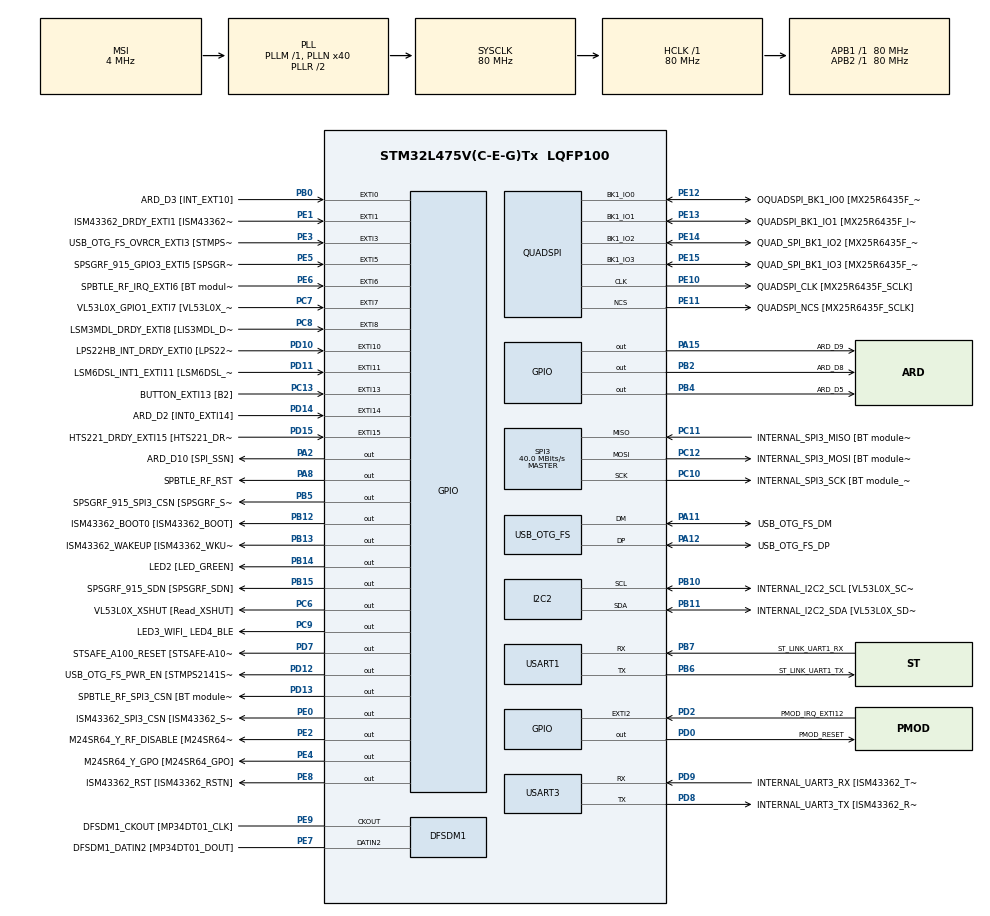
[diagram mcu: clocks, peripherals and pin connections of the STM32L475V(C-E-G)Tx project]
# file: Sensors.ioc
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Mcu.Family=STM32L4
Mcu.Name=STM32L475V(C-E-G)Tx
Mcu.Package=LQFP100
NVIC.EXTI15_10_IRQn=true\:0\:0\:false\:false\:true\:true\:true
NVIC.EXTI9_5_IRQn=true\:0\:0\:false\:false\:true\:true\:true
NVIC.PriorityGroup=NVIC_PRIORITYGROUP_4
NVIC.TIM1_CC_IRQn=true\:0\:0\:false\:false\:true\:true\:true
PA0.GPIO_Label=ARD_D1 [UART4_TX]
PA0.Signal=UART4_TX
PA1.GPIO_Label=ARD_D0 [UART4_RX]
PA1.Signal=UART4_RX
PA10.GPIO_Label=USB_OTG_FS_ID
PA10.Signal=USB_OTG_FS_ID
PA11.GPIO_Label=USB_OTG_FS_DM
PA11.Mode=Device_Only
PA11.Signal=USB_OTG_FS_DM
PA12.GPIO_Label=USB_OTG_FS_DP
PA12.Mode=Device_Only
PA12.Signal=USB_OTG_FS_DP
PA13\ (JTMS-SWDIO).GPIO_Label=SYS_JTMS_SWDIO
PA13\ (JTMS-SWDIO).Mode=Serial_Wire
PA13\ (JTMS-SWDIO).Signal=SYS_JTMS-SWDIO
PA14\ (JTCK-SWCLK).GPIO_Label=SYS_JTCK_SWCLK
PA14\ (JTCK-SWCLK).Mode=Serial_Wire
PA14\ (JTCK-SWCLK).Signal=SYS_JTCK-SWCLK
PA15\ (JTDI).GPIO_Label=ARD_D9
PA15\ (JTDI).Signal=GPIO_Output
PA2.GPIO_Label=ARD_D10 [SPI_SSN]
PA2.Signal=GPIO_Output
PA3.GPIO_Label=ARD_D4
PA3.Signal=S_TIM2_CH4
PA4.GPIO_Label=ARD_D7
PA4.Signal=ADCx_IN9
PA5.GPIO_Label=ARD_D13 [SPI1_SCK]
PA5.Signal=SPI1_SCK
PA6.GPIO_Label=ARD_D12 [SPI1_MISO]
PA6.Signal=SPI1_MISO
PA7.GPIO_Label=ARD_D11 [SPI1_MOSI]
PA7.Signal=SPI1_MOSI
PA8.GPIO_Label=SPBTLE_RF_RST
PA8.Signal=GPIO_Output
PA9.GPIO_Label=USB_OTG_FS_VBUS [STMPS2141STR_OUT]
PA9.Signal=USB_OTG_FS_VBUS
PB0.GPIO_Label=ARD_D3 [INT_EXT10]
PB0.Signal=GPXTI0
PB1.GPIO_Label=ARD_D6 [ADC1_IN6]
PB1.Signal=ADCx_IN16
PB10.GPIO_Label=INTERNAL_I2C2_SCL [VL53L0X_SCL]
PB10.Mode=I2C
PB10.Signal=I2C2_SCL
PB11.GPIO_Label=INTERNAL_I2C2_SDA [VL53L0X_SDA]
PB11.Mode=I2C
PB11.Signal=I2C2_SDA
PB12.GPIO_Label=ISM43362_BOOT0 [ISM43362_BOOT]
PB12.Signal=GPIO_Output
PB13.GPIO_Label=ISM43362_WAKEUP [ISM43362_WKUP]
PB13.Signal=GPIO_Output
PB14.GPIO_Label=LED2 [LED_GREEN]
PB14.Signal=GPIO_Output
PB15.GPIO_Label=SPSGRF_915_SDN [SPSGRF_SDN]
PB15.Signal=GPIO_Output
PB2.GPIO_Label=ARD_D8
PB2.Signal=GPIO_Output
PB3\ (JTDO-TRACESWO).GPIO_Label=SYS_JTD0_SWO
PB3\ (JTDO-TRACESWO).Signal=SYS_JTDO-SWO
PB4\ (NJTRST).GPIO_Label=ARD_D5
PB4\ (NJTRST).Signal=GPIO_Output
PB5.GPIO_Label=SPSGRF_915_SPI3_CSN [SPSGRF_SPI_CS]
PB5.PinState=GPIO_PIN_SET
PB5.Signal=GPIO_Output
PB6.GPIO_Label=ST_LINK_UART1_TX
PB6.Mode=Asynchronous
PB6.Signal=USART1_TX
PB7.GPIO_Label=ST_LINK_UART1_RX
PB7.Mode=Asynchronous
PB7.Signal=USART1_RX
PB8.GPIO_Label=ARD_D15 [I2C1_SCL]
PB8.Signal=I2C1_SCL
PB9.GPIO_Label=ARD_D14 [I2C1_SDA]
PB9.Signal=I2C1_SDA
PC0.GPIO_Label=ARD_A5 [ADC]
PC0.Signal=ADCx_IN1
PC1.GPIO_Label=ARD_A4 [ADC]
PC1.Signal=ADCx_IN2
PC10.GPIO_Label=INTERNAL_SPI3_SCK [BT module_SPI_SCLK]
PC10.Mode=Full_Duplex_Master
PC10.Signal=SPI3_SCK
PC11.GPIO_Label=INTERNAL_SPI3_MISO [BT module_SPI_MISO]
PC11.Mode=Full_Duplex_Master
PC11.Signal=SPI3_MISO
PC12.GPIO_Label=INTERNAL_SPI3_MOSI [BT module_SPI_MOSI]
PC12.Mode=Full_Duplex_Master
PC12.Signal=SPI3_MOSI
PC13.GPIO_Label=BUTTON_EXTI13 [B2]
PC13.GPIO_ModeDefaultEXTI=GPIO_MODE_IT_FALLING
PC13.Signal=GPXTI13
PC14-OSC32_IN\ (PC14).Mode=LSE-External-Oscillator
PC14-OSC32_IN\ (PC14).Signal=RCC_OSC32_IN
PC15-OSC32_OUT\ (PC15).Mode=LSE-External-Oscillator
PC15-OSC32_OUT\ (PC15).Signal=RCC_OSC32_OUT
PC2.GPIO_Label=ARD_A3 [ADC]
PC2.Signal=ADCx_IN3
PC3.GPIO_Label=ARD_A2 [ADC]
PC3.Signal=ADCx_IN4
PC4.GPIO_Label=ARD_A1 [ADC]
PC4.Signal=ADCx_IN13
PC5.GPIO_Label=ARD_A0 [ADC]
PC5.Signal=ADCx_IN14
PC6.GPIO_Label=VL53L0X_XSHUT [Read_XSHUT]
PC6.Signal=GPIO_Output
PC7.GPIO_Label=VL53L0X_GPIO1_EXTI7 [VL53L0X_GPIO1]
PC7.Signal=GPXTI7
PC8.GPIO_Label=LSM3MDL_DRDY_EXTI8 [LIS3MDL_DRDY]
PC8.Signal=GPXTI8
PC9.GPIO_Label=LED3_WIFI_ LED4_BLE
PC9.Signal=GPIO_Output
PD0.GPIO_Label=PMOD_RESET
PD0.Signal=GPIO_Output
PD1.GPIO_Label=PMOD_SPI2_SCK
PD1.Signal=SPI2_SCK
PD10.GPIO_Label=LPS22HB_INT_DRDY_EXTI0 [LPS22HB_INT_DRDY] 
PD10.Signal=GPXTI10
PD11.GPIO_Label=LSM6DSL_INT1_EXTI11 [LSM6DSL_INT1]
PD11.Signal=GPXTI11
PD12.GPIO_Label=USB_OTG_FS_PWR_EN [STMPS2141STR_EN]
PD12.Signal=GPIO_Output
PD13.GPIO_Label=SPBTLE_RF_SPI3_CSN [BT module_SPI_CS]
PD13.PinState=GPIO_PIN_SET
PD13.Signal=GPIO_Output
PD14.GPIO_Label=ARD_D2 [INT0_EXTI14]
PD14.Signal=GPXTI14
PD15.GPIO_Label=HTS221_DRDY_EXTI15 [HTS221_DRDY]
PD15.Signal=GPXTI15
PD2.GPIO_Label=PMOD_IRQ_EXTI12
PD2.Signal=GPXTI2
PD3.GPIO_Label=PMOD_UART2_CTS
PD3.Signal=USART2_CTS
PD4.GPIO_Label=PMOD_UART2_RTS
PD4.Signal=USART2_RTS
PD5.GPIO_Label=PMOD_UART2_TX
PD5.Signal=USART2_TX
PD6.GPIO_Label=PMOD_UART2_RX
PD6.Signal=USART2_RX
PD7.GPIO_Label=STSAFE_A100_RESET [STSAFE-A100_RESET]
PD7.Signal=GPIO_Output
PD8.GPIO_Label=INTERNAL_UART3_TX [ISM43362_RX]
PD8.Mode=Asynchronous
PD8.Signal=USART3_TX
PD9.GPIO_Label=INTERNAL_UART3_RX [ISM43362_TX]
PD9.Mode=Asynchronous
PD9.Signal=USART3_RX
PE0.GPIO_Label=ISM43362_SPI3_CSN [ISM43362_SSN]
PE0.PinState=GPIO_PIN_SET
PE0.Signal=GPIO_Output
PE1.GPIO_Label=ISM43362_DRDY_EXTI1 [ISM43362_DATARDY]
PE1.Signal=GPXTI1
PE10.GPIO_Label=QUADSPI_CLK [MX25R6435F_SCLK]
PE10.Mode=Single Bank
PE10.Signal=QUADSPI_CLK
PE11.GPIO_Label=QUADSPI_NCS [MX25R6435F_SCLK]
PE11.Mode=Single Bank
PE11.Signal=QUADSPI_NCS
PE12.GPIO_Label=OQUADSPI_BK1_IO0 [MX25R6435F_IO0]
PE12.Mode=Single Bank
PE12.Signal=QUADSPI_BK1_IO0
PE13.GPIO_Label=QUADSPI_BK1_IO1 [MX25R6435F_IO1]
PE13.Mode=Single Bank
PE13.Signal=QUADSPI_BK1_IO1
PE14.GPIO_Label=QUAD_SPI_BK1_IO2 [MX25R6435F_IO2]
PE14.Mode=Single Bank
PE14.Signal=QUADSPI_BK1_IO2
PE15.GPIO_Label=QUAD_SPI_BK1_IO3 [MX25R6435F_IO3]
PE15.Mode=Single Bank
PE15.Signal=QUADSPI_BK1_IO3
PE2.GPIO_Label=M24SR64_Y_RF_DISABLE [M24SR64_RFDIS]
PE2.Signal=GPIO_Output
PE3.GPIO_Label=USB_OTG_FS_OVRCR_EXTI3 [STMPS2141STR_FAULT]
PE3.Signal=GPXTI3
PE4.GPIO_Label=M24SR64_Y_GPO [M24SR64_GPO]
PE4.Signal=GPIO_Output
PE5.GPIO_Label=SPSGRF_915_GPIO3_EXTI5 [SPSGRF_GPIO_3]
PE5.Signal=GPXTI5
PE6.GPIO_Label=SPBTLE_RF_IRQ_EXTI6 [BT module_SPI_IRQ]
PE6.Signal=GPXTI6
PE7.GPIO_Label=DFSDM1_DATIN2 [MP34DT01_DOUT]
PE7.Signal=S_DATAIN2DFSDM1
PE8.GPIO_Label=ISM43362_RST [ISM43362_RSTN]
PE8.Signal=GPIO_Output
PE9.GPIO_Label=DFSDM1_CKOUT [MP34DT01_CLK]
PE9.Signal=S_CKOUTDFSDM1
ProjectManager.HeapSize=0x200
ProjectManager.StackSize=0x400
ProjectManager.TargetToolchain=EWARM V8
RCC.ADCFreq_Value=48000000
RCC.AHBFreq_Value=80000000
RCC.APB1Freq_Value=80000000
RCC.APB1TimFreq_Value=80000000
RCC.APB2Freq_Value=80000000
RCC.APB2TimFreq_Value=80000000
RCC.CortexFreq_Value=80000000
RCC.HCLKFreq_Value=80000000
RCC.HSE_VALUE=8000000
RCC.HSI_VALUE=16000000
RCC.MSI_VALUE=4000000
RCC.PLLN=40
RCC.PLLSAI1N=24
RCC.SYSCLKFreq_VALUE=80000000
RCC.SYSCLKSource=RCC_SYSCLKSOURCE_PLLCLK
RCC.USBFreq_Value=48000000
RCC.VCOOutputFreq_Value=160000000
SH.ADCx_IN1.0=ADC1_IN1
SH.ADCx_IN13.0=ADC1_IN13
SH.ADCx_IN14.0=ADC1_IN14
SH.ADCx_IN16.0=ADC1_IN16
SH.ADCx_IN2.0=ADC1_IN2
SH.ADCx_IN3.0=ADC1_IN3
SH.ADCx_IN4.0=ADC1_IN4
SH.ADCx_IN9.0=ADC1_IN9
SH.S_CKOUTDFSDM1.0=DFSDM1_CKOUT,CKOUT
SH.S_CKOUTDFSDM1.1=DFSDM1_CKOUT,PDM_SPI_Input_from_ch12_and_Internal_Clock
SH.S_DATAIN2DFSDM1.0=DFSDM1_DATIN2,PDM_SPI_Input_from_ch12_and_Internal_Clock
SH.S_TIM2_CH4.0=TIM2_CH4
SPI3.CalculateBaudRate=40.0 MBits/s
SPI3.Direction=SPI_DIRECTION_2LINES
SPI3.Mode=SPI_MODE_MASTER
SPI3.VirtualType=VM_MASTER
TIM1.AutoReloadPreload=TIM_AUTORELOAD_PRELOAD_DISABLE
TIM1.Channel-Input_Capture1_from_TI1_REMAP_TIM1=TIM_CHANNEL_1
USART1.VirtualMode-Asynchronous=VM_ASYNC
USART3.VirtualMode-Asynchronous=VM_ASYNC
USB_OTG_FS.VirtualMode=Device_Only
VP_TIM1_VS_ClockSourceINT.Mode=Internal
VP_TIM1_VS_ClockSourceITR.Mode=TriggerSource_ITR0
VP_TIM1_VS_NoInput1.Mode=Input_Capture1_from_TI1_REMAP_TIM1
board=B-L475E-IOT01A1

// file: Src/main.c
/* USER CODE BEGIN Header */
/**
  ******************************************************************************
  * @file           : main.c
  * @brief          : Main program body
  ******************************************************************************
  * @attention
  *
  * <h2><center>&copy; Copyright (c) 2019 STMicroelectronics.
  * All rights reserved.</center></h2>
  *
  * This software component is licensed by ST under BSD 3-Clause license,
  * the "License"; You may not use this file except in compliance with the
  * License. You may obtain a copy of the License at:
  *                        opensource.org/licenses/BSD-3-Clause
  *
  ******************************************************************************
  */
/* USER CODE END Header */

#include "main.h"

DFSDM_Channel_HandleTypeDef hdfsdm1_channel1;

I2C_HandleTypeDef hi2c2;

QSPI_HandleTypeDef hqspi;

SPI_HandleTypeDef hspi3;

TIM_HandleTypeDef htim1;

UART_HandleTypeDef huart1;
UART_HandleTypeDef huart3;

PCD_HandleTypeDef hpcd_USB_OTG_FS;

/* USER CODE BEGIN PV */
float Humidity = 0.00;
float Pressure = 0.00;
float Temperature = 0.00;
float Gyro[3];
int16_t Accelero[3];
/* USER CODE END PV */

void SystemClock_Config(void);
static void MX_GPIO_Init(void);
static void MX_DFSDM1_Init(void);
static void MX_I2C2_Init(void);
static void MX_QUADSPI_Init(void);
static void MX_SPI3_Init(void);
static void MX_USART1_UART_Init(void);
static void MX_USART3_UART_Init(void);
static void MX_USB_OTG_FS_PCD_Init(void);
static void MX_TIM1_Init(void);

/* USER CODE BEGIN 0 */
#ifdef __GNUC__
/* With GCC/RAISONANCE, small printf (option LD Linker->Libraries->Small printf
 set to 'Yes') calls __io_putchar() */
#define PUTCHAR_PROTOTYPE int __io_putchar(int ch)
#else
#define PUTCHAR_PROTOTYPE int fputc(int ch, FILE *f)
#endif /* __GNUC__ */
/* USER CODE END 0 */

int main(void)
{

  /* MCU Configuration--------------------------------------------------------*/

  /* Reset of all peripherals, Initializes the Flash interface and the Systick. */
  HAL_Init();

  /* Configure the system clock */
  SystemClock_Config();

  /* Initialize all configured peripherals */
  MX_GPIO_Init();
  MX_DFSDM1_Init();
  MX_I2C2_Init();
  MX_QUADSPI_Init();
  MX_SPI3_Init();
  MX_USART1_UART_Init();
  MX_USART3_UART_Init();
  MX_USB_OTG_FS_PCD_Init();
  MX_TIM1_Init();
  /* USER CODE BEGIN 2 */
  BSP_HSENSOR_Init();
  BSP_PSENSOR_Init();
  BSP_TSENSOR_Init();
  BSP_GYRO_Init();
  BSP_ACCELERO_Init();
  /* USER CODE END 2 */

  /* Infinite loop */
  /* USER CODE BEGIN WHILE */
  while (1)
  {
    Humidity = BSP_HSENSOR_ReadHumidity();
    Pressure = BSP_PSENSOR_ReadPressure();
    Temperature = BSP_TSENSOR_ReadTemp();
    BSP_GYRO_GetXYZ(Gyro);
    BSP_ACCELERO_AccGetXYZ(Accelero);

    printf("H%.4f\n", Humidity);
    printf("P%.4f\n", Pressure);
    printf("T%.4f\n", Temperature);
    printf("Gx%.4f\n", Gyro[0]);
    printf("Gy%.4f\n", Gyro[1]);
    printf("Gz%.4f\n", Gyro[2]);
    printf("Ax%d\n", Accelero[0]);
    printf("Ay%d\n", Accelero[1]);
    printf("Az%d\n", Accelero[2]);
    /*
    printf("\033[2J");

    printf(
            "Humidity : %.2f%%\r\n"
            "Perssure : %.2fmBars\r\n"
            "Temperature : %.2f°C\r\n"
    , Humidity, Pressure, Temperature);
    */
    HAL_Delay(10);
    /* USER CODE END WHILE */

  }
}

void SystemClock_Config(void)
{
  RCC_OscInitTypeDef RCC_OscInitStruct = {0};
  RCC_ClkInitTypeDef RCC_ClkInitStruct = {0};
  RCC_PeriphCLKInitTypeDef PeriphClkInit = {0};

  /** Configure LSE Drive Capability
  */
  HAL_PWR_EnableBkUpAccess();
  __HAL_RCC_LSEDRIVE_CONFIG(RCC_LSEDRIVE_LOW);
  /** Initializes the CPU, AHB and APB busses clocks
  */
  RCC_OscInitStruct.OscillatorType = RCC_OSCILLATORTYPE_LSE|RCC_OSCILLATORTYPE_MSI;
  RCC_OscInitStruct.LSEState = RCC_LSE_ON;
  RCC_OscInitStruct.MSIState = RCC_MSI_ON;
  RCC_OscInitStruct.MSICalibrationValue = 0;
  RCC_OscInitStruct.MSIClockRange = RCC_MSIRANGE_6;
  RCC_OscInitStruct.PLL.PLLState = RCC_PLL_ON;
  RCC_OscInitStruct.PLL.PLLSource = RCC_PLLSOURCE_MSI;
  RCC_OscInitStruct.PLL.PLLM = 1;
  RCC_OscInitStruct.PLL.PLLN = 40;
  RCC_OscInitStruct.PLL.PLLP = RCC_PLLP_DIV7;
  RCC_OscInitStruct.PLL.PLLQ = RCC_PLLQ_DIV2;
  RCC_OscInitStruct.PLL.PLLR = RCC_PLLR_DIV2;
  if (HAL_RCC_OscConfig(&RCC_OscInitStruct) != HAL_OK)
  {
    Error_Handler();
  }
  /** Initializes the CPU, AHB and APB busses clocks
  */
  RCC_ClkInitStruct.ClockType = RCC_CLOCKTYPE_HCLK|RCC_CLOCKTYPE_SYSCLK
                              |RCC_CLOCKTYPE_PCLK1|RCC_CLOCKTYPE_PCLK2;
  RCC_ClkInitStruct.SYSCLKSource = RCC_SYSCLKSOURCE_PLLCLK;
  RCC_ClkInitStruct.AHBCLKDivider = RCC_SYSCLK_DIV1;
  RCC_ClkInitStruct.APB1CLKDivider = RCC_HCLK_DIV1;
  RCC_ClkInitStruct.APB2CLKDivider = RCC_HCLK_DIV1;

  if (HAL_RCC_ClockConfig(&RCC_ClkInitStruct, FLASH_LATENCY_4) != HAL_OK)
  {
    Error_Handler();
  }
  PeriphClkInit.PeriphClockSelection = RCC_PERIPHCLK_USART1|RCC_PERIPHCLK_USART3
                              |RCC_PERIPHCLK_I2C2|RCC_PERIPHCLK_DFSDM1
                              |RCC_PERIPHCLK_USB;
  PeriphClkInit.Usart1ClockSelection = RCC_USART1CLKSOURCE_PCLK2;
  PeriphClkInit.Usart3ClockSelection = RCC_USART3CLKSOURCE_PCLK1;
  PeriphClkInit.I2c2ClockSelection = RCC_I2C2CLKSOURCE_PCLK1;
  PeriphClkInit.Dfsdm1ClockSelection = RCC_DFSDM1CLKSOURCE_PCLK;
  PeriphClkInit.UsbClockSelection = RCC_USBCLKSOURCE_PLLSAI1;
  PeriphClkInit.PLLSAI1.PLLSAI1Source = RCC_PLLSOURCE_MSI;
  PeriphClkInit.PLLSAI1.PLLSAI1M = 1;
  PeriphClkInit.PLLSAI1.PLLSAI1N = 24;
  PeriphClkInit.PLLSAI1.PLLSAI1P = RCC_PLLP_DIV7;
  PeriphClkInit.PLLSAI1.PLLSAI1Q = RCC_PLLQ_DIV2;
  PeriphClkInit.PLLSAI1.PLLSAI1R = RCC_PLLR_DIV2;
  PeriphClkInit.PLLSAI1.PLLSAI1ClockOut = RCC_PLLSAI1_48M2CLK;
  if (HAL_RCCEx_PeriphCLKConfig(&PeriphClkInit) != HAL_OK)
  {
    Error_Handler();
  }
  /** Configure the main internal regulator output voltage
  */
  if (HAL_PWREx_ControlVoltageScaling(PWR_REGULATOR_VOLTAGE_SCALE1) != HAL_OK)
  {
    Error_Handler();
  }
  /** Enable MSI Auto calibration
  */
  HAL_RCCEx_EnableMSIPLLMode();
}

static void MX_DFSDM1_Init(void)
{

  hdfsdm1_channel1.Instance = DFSDM1_Channel1;
  hdfsdm1_channel1.Init.OutputClock.Activation = ENABLE;
  hdfsdm1_channel1.Init.OutputClock.Selection = DFSDM_CHANNEL_OUTPUT_CLOCK_SYSTEM;
  hdfsdm1_channel1.Init.OutputClock.Divider = 2;
  hdfsdm1_channel1.Init.Input.Multiplexer = DFSDM_CHANNEL_EXTERNAL_INPUTS;
  hdfsdm1_channel1.Init.Input.DataPacking = DFSDM_CHANNEL_STANDARD_MODE;
  hdfsdm1_channel1.Init.Input.Pins = DFSDM_CHANNEL_FOLLOWING_CHANNEL_PINS;
  hdfsdm1_channel1.Init.SerialInterface.Type = DFSDM_CHANNEL_SPI_RISING;
  hdfsdm1_channel1.Init.SerialInterface.SpiClock = DFSDM_CHANNEL_SPI_CLOCK_INTERNAL;
  hdfsdm1_channel1.Init.Awd.FilterOrder = DFSDM_CHANNEL_FASTSINC_ORDER;
  hdfsdm1_channel1.Init.Awd.Oversampling = 1;
  hdfsdm1_channel1.Init.Offset = 0;
  hdfsdm1_channel1.Init.RightBitShift = 0x00;
  if (HAL_DFSDM_ChannelInit(&hdfsdm1_channel1) != HAL_OK)
  {
    Error_Handler();
  }

}

static void MX_I2C2_Init(void)
{

  hi2c2.Instance = I2C2;
  hi2c2.Init.Timing = 0x10909CEC;
  hi2c2.Init.OwnAddress1 = 0;
  hi2c2.Init.AddressingMode = I2C_ADDRESSINGMODE_7BIT;
  hi2c2.Init.DualAddressMode = I2C_DUALADDRESS_DISABLE;
  hi2c2.Init.OwnAddress2 = 0;
  hi2c2.Init.OwnAddress2Masks = I2C_OA2_NOMASK;
  hi2c2.Init.GeneralCallMode = I2C_GENERALCALL_DISABLE;
  hi2c2.Init.NoStretchMode = I2C_NOSTRETCH_DISABLE;
  if (HAL_I2C_Init(&hi2c2) != HAL_OK)
  {
    Error_Handler();
  }
  /** Configure Analogue filter
  */
  if (HAL_I2CEx_ConfigAnalogFilter(&hi2c2, I2C_ANALOGFILTER_ENABLE) != HAL_OK)
  {
    Error_Handler();
  }
  /** Configure Digital filter
  */
  if (HAL_I2CEx_ConfigDigitalFilter(&hi2c2, 0) != HAL_OK)
  {
    Error_Handler();
  }

}

static void MX_QUADSPI_Init(void)
{

  /* QUADSPI parameter configuration*/
  hqspi.Instance = QUADSPI;
  hqspi.Init.ClockPrescaler = 255;
  hqspi.Init.FifoThreshold = 1;
  hqspi.Init.SampleShifting = QSPI_SAMPLE_SHIFTING_NONE;
  hqspi.Init.FlashSize = 1;
  hqspi.Init.ChipSelectHighTime = QSPI_CS_HIGH_TIME_1_CYCLE;
  hqspi.Init.ClockMode = QSPI_CLOCK_MODE_0;
  if (HAL_QSPI_Init(&hqspi) != HAL_OK)
  {
    Error_Handler();
  }

}

static void MX_SPI3_Init(void)
{

  /* SPI3 parameter configuration*/
  hspi3.Instance = SPI3;
  hspi3.Init.Mode = SPI_MODE_MASTER;
  hspi3.Init.Direction = SPI_DIRECTION_2LINES;
  hspi3.Init.DataSize = SPI_DATASIZE_4BIT;
  hspi3.Init.CLKPolarity = SPI_POLARITY_LOW;
  hspi3.Init.CLKPhase = SPI_PHASE_1EDGE;
  hspi3.Init.NSS = SPI_NSS_SOFT;
  hspi3.Init.BaudRatePrescaler = SPI_BAUDRATEPRESCALER_2;
  hspi3.Init.FirstBit = SPI_FIRSTBIT_MSB;
  hspi3.Init.TIMode = SPI_TIMODE_DISABLE;
  hspi3.Init.CRCCalculation = SPI_CRCCALCULATION_DISABLE;
  hspi3.Init.CRCPolynomial = 7;
  hspi3.Init.CRCLength = SPI_CRC_LENGTH_DATASIZE;
  hspi3.Init.NSSPMode = SPI_NSS_PULSE_ENABLE;
  if (HAL_SPI_Init(&hspi3) != HAL_OK)
  {
    Error_Handler();
  }

}

static void MX_TIM1_Init(void)
{

  TIM_ClockConfigTypeDef sClockSourceConfig = {0};
  TIM_SlaveConfigTypeDef sSlaveConfig = {0};
  TIM_MasterConfigTypeDef sMasterConfig = {0};
  TIM_IC_InitTypeDef sConfigIC = {0};

  htim1.Instance = TIM1;
  htim1.Init.Prescaler = 0;
  htim1.Init.CounterMode = TIM_COUNTERMODE_UP;
  htim1.Init.Period = 0;
  htim1.Init.ClockDivision = TIM_CLOCKDIVISION_DIV1;
  htim1.Init.RepetitionCounter = 0;
  htim1.Init.AutoReloadPreload = TIM_AUTORELOAD_PRELOAD_DISABLE;
  if (HAL_TIM_Base_Init(&htim1) != HAL_OK)
  {
    Error_Handler();
  }
  sClockSourceConfig.ClockSource = TIM_CLOCKSOURCE_INTERNAL;
  if (HAL_TIM_ConfigClockSource(&htim1, &sClockSourceConfig) != HAL_OK)
  {
    Error_Handler();
  }
  if (HAL_TIM_IC_Init(&htim1) != HAL_OK)
  {
    Error_Handler();
  }
  sSlaveConfig.SlaveMode = TIM_SLAVEMODE_DISABLE;
  sSlaveConfig.InputTrigger = TIM_TS_ITR0;
  if (HAL_TIM_SlaveConfigSynchro(&htim1, &sSlaveConfig) != HAL_OK)
  {
    Error_Handler();
  }
  sMasterConfig.MasterOutputTrigger = TIM_TRGO_RESET;
  sMasterConfig.MasterOutputTrigger2 = TIM_TRGO2_RESET;
  sMasterConfig.MasterSlaveMode = TIM_MASTERSLAVEMODE_DISABLE;
  if (HAL_TIMEx_MasterConfigSynchronization(&htim1, &sMasterConfig) != HAL_OK)
  {
    Error_Handler();
  }
  sConfigIC.ICPolarity = TIM_INPUTCHANNELPOLARITY_RISING;
  sConfigIC.ICSelection = TIM_ICSELECTION_DIRECTTI;
  sConfigIC.ICPrescaler = TIM_ICPSC_DIV1;
  sConfigIC.ICFilter = 0;
  if (HAL_TIM_IC_ConfigChannel(&htim1, &sConfigIC, TIM_CHANNEL_1) != HAL_OK)
  {
    Error_Handler();
  }
  if (HAL_TIMEx_RemapConfig(&htim1, TIM_TIM1_TI1_COMP1) != HAL_OK)
  {
    Error_Handler();
  }

}

static void MX_USART1_UART_Init(void)
{

  huart1.Instance = USART1;
  huart1.Init.BaudRate = 115200;
  huart1.Init.WordLength = UART_WORDLENGTH_8B;
  huart1.Init.StopBits = UART_STOPBITS_1;
  huart1.Init.Parity = UART_PARITY_NONE;
  huart1.Init.Mode = UART_MODE_TX_RX;
  huart1.Init.HwFlowCtl = UART_HWCONTROL_NONE;
  huart1.Init.OverSampling = UART_OVERSAMPLING_16;
  huart1.Init.OneBitSampling = UART_ONE_BIT_SAMPLE_DISABLE;
  huart1.AdvancedInit.AdvFeatureInit = UART_ADVFEATURE_NO_INIT;
  if (HAL_UART_Init(&huart1) != HAL_OK)
  {
    Error_Handler();
  }

}

static void MX_USART3_UART_Init(void)
{

  huart3.Instance = USART3;
  huart3.Init.BaudRate = 115200;
  huart3.Init.WordLength = UART_WORDLENGTH_8B;
  huart3.Init.StopBits = UART_STOPBITS_1;
  huart3.Init.Parity = UART_PARITY_NONE;
  huart3.Init.Mode = UART_MODE_TX_RX;
  huart3.Init.HwFlowCtl = UART_HWCONTROL_NONE;
  huart3.Init.OverSampling = UART_OVERSAMPLING_16;
  huart3.Init.OneBitSampling = UART_ONE_BIT_SAMPLE_DISABLE;
  huart3.AdvancedInit.AdvFeatureInit = UART_ADVFEATURE_NO_INIT;
  if (HAL_UART_Init(&huart3) != HAL_OK)
  {
    Error_Handler();
  }

}

static void MX_USB_OTG_FS_PCD_Init(void)
{

  hpcd_USB_OTG_FS.Instance = USB_OTG_FS;
  hpcd_USB_OTG_FS.Init.dev_endpoints = 6;
  hpcd_USB_OTG_FS.Init.speed = PCD_SPEED_FULL;
  hpcd_USB_OTG_FS.Init.phy_itface = PCD_PHY_EMBEDDED;
  hpcd_USB_OTG_FS.Init.Sof_enable = DISABLE;
  hpcd_USB_OTG_FS.Init.low_power_enable = DISABLE;
  hpcd_USB_OTG_FS.Init.lpm_enable = DISABLE;
  hpcd_USB_OTG_FS.Init.battery_charging_enable = DISABLE;
  hpcd_USB_OTG_FS.Init.use_dedicated_ep1 = DISABLE;
  hpcd_USB_OTG_FS.Init.vbus_sensing_enable = DISABLE;
  if (HAL_PCD_Init(&hpcd_USB_OTG_FS) != HAL_OK)
  {
    Error_Handler();
  }

}

static void MX_GPIO_Init(void)
{
  GPIO_InitTypeDef GPIO_InitStruct = {0};

  /* GPIO Ports Clock Enable */
  __HAL_RCC_GPIOE_CLK_ENABLE();
  __HAL_RCC_GPIOC_CLK_ENABLE();
  __HAL_RCC_GPIOA_CLK_ENABLE();
  __HAL_RCC_GPIOB_CLK_ENABLE();
  __HAL_RCC_GPIOD_CLK_ENABLE();

  /*Configure GPIO pin Output Level */
  HAL_GPIO_WritePin(GPIOE, M24SR64_Y_RF_DISABLE_Pin|M24SR64_Y_GPO_Pin|ISM43362_RST_Pin, GPIO_PIN_RESET);

  /*Configure GPIO pin Output Level */
  HAL_GPIO_WritePin(GPIOA, ARD_D10_Pin|SPBTLE_RF_RST_Pin|ARD_D9_Pin, GPIO_PIN_RESET);

  /*Configure GPIO pin Output Level */
  HAL_GPIO_WritePin(GPIOB, ARD_D8_Pin|ISM43362_BOOT0_Pin|ISM43362_WAKEUP_Pin|LED2_Pin
                          |SPSGRF_915_SDN_Pin|ARD_D5_Pin, GPIO_PIN_RESET);

  /*Configure GPIO pin Output Level */
  HAL_GPIO_WritePin(GPIOD, USB_OTG_FS_PWR_EN_Pin|PMOD_RESET_Pin|STSAFE_A100_RESET_Pin, GPIO_PIN_RESET);

  /*Configure GPIO pin Output Level */
  HAL_GPIO_WritePin(SPBTLE_RF_SPI3_CSN_GPIO_Port, SPBTLE_RF_SPI3_CSN_Pin, GPIO_PIN_SET);

  /*Configure GPIO pin Output Level */
  HAL_GPIO_WritePin(GPIOC, VL53L0X_XSHUT_Pin|LED3_WIFI__LED4_BLE_Pin, GPIO_PIN_RESET);

  /*Configure GPIO pin Output Level */
  HAL_GPIO_WritePin(SPSGRF_915_SPI3_CSN_GPIO_Port, SPSGRF_915_SPI3_CSN_Pin, GPIO_PIN_SET);

  /*Configure GPIO pin Output Level */
  HAL_GPIO_WritePin(ISM43362_SPI3_CSN_GPIO_Port, ISM43362_SPI3_CSN_Pin, GPIO_PIN_SET);

  /*Configure GPIO pins : M24SR64_Y_RF_DISABLE_Pin M24SR64_Y_GPO_Pin ISM43362_RST_Pin ISM43362_SPI3_CSN_Pin */
  GPIO_InitStruct.Pin = M24SR64_Y_RF_DISABLE_Pin|M24SR64_Y_GPO_Pin|ISM43362_RST_Pin|ISM43362_SPI3_CSN_Pin;
  GPIO_InitStruct.Mode = GPIO_MODE_OUTPUT_PP;
  GPIO_InitStruct.Pull = GPIO_NOPULL;
  GPIO_InitStruct.Speed = GPIO_SPEED_FREQ_LOW;
  HAL_GPIO_Init(GPIOE, &GPIO_InitStruct);

  /*Configure GPIO pins : USB_OTG_FS_OVRCR_EXTI3_Pin SPSGRF_915_GPIO3_EXTI5_Pin SPBTLE_RF_IRQ_EXTI6_Pin ISM43362_DRDY_EXTI1_Pin */
  GPIO_InitStruct.Pin = USB_OTG_FS_OVRCR_EXTI3_Pin|SPSGRF_915_GPIO3_EXTI5_Pin|SPBTLE_RF_IRQ_EXTI6_Pin|ISM43362_DRDY_EXTI1_Pin;
  GPIO_InitStruct.Mode = GPIO_MODE_IT_RISING;
  GPIO_InitStruct.Pull = GPIO_NOPULL;
  HAL_GPIO_Init(GPIOE, &GPIO_InitStruct);

  /*Configure GPIO pin : BUTTON_EXTI13_Pin */
  GPIO_InitStruct.Pin = BUTTON_EXTI13_Pin;
  GPIO_InitStruct.Mode = GPIO_MODE_IT_FALLING;
  GPIO_InitStruct.Pull = GPIO_NOPULL;
  HAL_GPIO_Init(BUTTON_EXTI13_GPIO_Port, &GPIO_InitStruct);

  /*Configure GPIO pins : ARD_A5_Pin ARD_A4_Pin ARD_A3_Pin ARD_A2_Pin
                           ARD_A1_Pin ARD_A0_Pin */
  GPIO_InitStruct.Pin = ARD_A5_Pin|ARD_A4_Pin|ARD_A3_Pin|ARD_A2_Pin
                          |ARD_A1_Pin|ARD_A0_Pin;
  GPIO_InitStruct.Mode = GPIO_MODE_ANALOG_ADC_CONTROL;
  GPIO_InitStruct.Pull = GPIO_NOPULL;
  HAL_GPIO_Init(GPIOC, &GPIO_InitStruct);

  /*Configure GPIO pins : ARD_D1_Pin ARD_D0_Pin */
  GPIO_InitStruct.Pin = ARD_D1_Pin|ARD_D0_Pin;
  GPIO_InitStruct.Mode = GPIO_MODE_AF_PP;
  GPIO_InitStruct.Pull = GPIO_NOPULL;
  GPIO_InitStruct.Speed = GPIO_SPEED_FREQ_VERY_HIGH;
  GPIO_InitStruct.Alternate = GPIO_AF8_UART4;
  HAL_GPIO_Init(GPIOA, &GPIO_InitStruct);

  /*Configure GPIO pins : ARD_D10_Pin SPBTLE_RF_RST_Pin ARD_D9_Pin */
  GPIO_InitStruct.Pin = ARD_D10_Pin|SPBTLE_RF_RST_Pin|ARD_D9_Pin;
  GPIO_InitStruct.Mode = GPIO_MODE_OUTPUT_PP;
  GPIO_InitStruct.Pull = GPIO_NOPULL;
  GPIO_InitStruct.Speed = GPIO_SPEED_FREQ_LOW;
  HAL_GPIO_Init(GPIOA, &GPIO_InitStruct);

  /*Configure GPIO pin : ARD_D4_Pin */
  GPIO_InitStruct.Pin = ARD_D4_Pin;
  GPIO_InitStruct.Mode = GPIO_MODE_AF_PP;
  GPIO_InitStruct.Pull = GPIO_NOPULL;
  GPIO_InitStruct.Speed = GPIO_SPEED_FREQ_LOW;
  GPIO_InitStruct.Alternate = GPIO_AF1_TIM2;
  HAL_GPIO_Init(ARD_D4_GPIO_Port, &GPIO_InitStruct);

  /*Configure GPIO pin : ARD_D7_Pin */
  GPIO_InitStruct.Pin = ARD_D7_Pin;
  GPIO_InitStruct.Mode = GPIO_MODE_ANALOG_ADC_CONTROL;
  GPIO_InitStruct.Pull = GPIO_NOPULL;
  HAL_GPIO_Init(ARD_D7_GPIO_Port, &GPIO_InitStruct);

  /*Configure GPIO pins : ARD_D13_Pin ARD_D12_Pin ARD_D11_Pin */
  GPIO_InitStruct.Pin = ARD_D13_Pin|ARD_D12_Pin|ARD_D11_Pin;
  GPIO_InitStruct.Mode = GPIO_MODE_AF_PP;
  GPIO_InitStruct.Pull = GPIO_NOPULL;
  GPIO_InitStruct.Speed = GPIO_SPEED_FREQ_VERY_HIGH;
  GPIO_InitStruct.Alternate = GPIO_AF5_SPI1;
  HAL_GPIO_Init(GPIOA, &GPIO_InitStruct);

  /*Configure GPIO pin : ARD_D3_Pin */
  GPIO_InitStruct.Pin = ARD_D3_Pin;
  GPIO_InitStruct.Mode = GPIO_MODE_IT_RISING;
  GPIO_InitStruct.Pull = GPIO_NOPULL;
  HAL_GPIO_Init(ARD_D3_GPIO_Port, &GPIO_InitStruct);

  /*Configure GPIO pin : ARD_D6_Pin */
  GPIO_InitStruct.Pin = ARD_D6_Pin;
  GPIO_InitStruct.Mode = GPIO_MODE_ANALOG_ADC_CONTROL;
  GPIO_InitStruct.Pull = GPIO_NOPULL;
  HAL_GPIO_Init(ARD_D6_GPIO_Port, &GPIO_InitStruct);

  /*Configure GPIO pins : ARD_D8_Pin ISM43362_BOOT0_Pin ISM43362_WAKEUP_Pin LED2_Pin
                           SPSGRF_915_SDN_Pin ARD_D5_Pin SPSGRF_915_SPI3_CSN_Pin */
  GPIO_InitStruct.Pin = ARD_D8_Pin|ISM43362_BOOT0_Pin|ISM43362_WAKEUP_Pin|LED2_Pin
                          |SPSGRF_915_SDN_Pin|ARD_D5_Pin|SPSGRF_915_SPI3_CSN_Pin;
  GPIO_InitStruct.Mode = GPIO_MODE_OUTPUT_PP;
  GPIO_InitStruct.Pull = GPIO_NOPULL;
  GPIO_InitStruct.Speed = GPIO_SPEED_FREQ_LOW;
  HAL_GPIO_Init(GPIOB, &GPIO_InitStruct);

  /*Configure GPIO pins : LPS22HB_INT_DRDY_EXTI0_Pin LSM6DSL_INT1_EXTI11_Pin ARD_D2_Pin HTS221_DRDY_EXTI15_Pin
                           PMOD_IRQ_EXTI12_Pin */
  GPIO_InitStruct.Pin = LPS22HB_INT_DRDY_EXTI0_Pin|LSM6DSL_INT1_EXTI11_Pin|ARD_D2_Pin|HTS221_DRDY_EXTI15_Pin
                          |PMOD_IRQ_EXTI12_Pin;
  GPIO_InitStruct.Mode = GPIO_MODE_IT_RISING;
  GPIO_InitStruct.Pull = GPIO_NOPULL;
  HAL_GPIO_Init(GPIOD, &GPIO_InitStruct);

  /*Configure GPIO pins : USB_OTG_FS_PWR_EN_Pin SPBTLE_RF_SPI3_CSN_Pin PMOD_RESET_Pin STSAFE_A100_RESET_Pin */
  GPIO_InitStruct.Pin = USB_OTG_FS_PWR_EN_Pin|SPBTLE_RF_SPI3_CSN_Pin|PMOD_RESET_Pin|STSAFE_A100_RESET_Pin;
  GPIO_InitStruct.Mode = GPIO_MODE_OUTPUT_PP;
  GPIO_InitStruct.Pull = GPIO_NOPULL;
  GPIO_InitStruct.Speed = GPIO_SPEED_FREQ_LOW;
  HAL_GPIO_Init(GPIOD, &GPIO_InitStruct);

  /*Configure GPIO pins : VL53L0X_XSHUT_Pin LED3_WIFI__LED4_BLE_Pin */
  GPIO_InitStruct.Pin = VL53L0X_XSHUT_Pin|LED3_WIFI__LED4_BLE_Pin;
  GPIO_InitStruct.Mode = GPIO_MODE_OUTPUT_PP;
  GPIO_InitStruct.Pull = GPIO_NOPULL;
  GPIO_InitStruct.Speed = GPIO_SPEED_FREQ_LOW;
  HAL_GPIO_Init(GPIOC, &GPIO_InitStruct);

  /*Configure GPIO pins : VL53L0X_GPIO1_EXTI7_Pin LSM3MDL_DRDY_EXTI8_Pin */
  GPIO_InitStruct.Pin = VL53L0X_GPIO1_EXTI7_Pin|LSM3MDL_DRDY_EXTI8_Pin;
  GPIO_InitStruct.Mode = GPIO_MODE_IT_RISING;
  GPIO_InitStruct.Pull = GPIO_NOPULL;
  HAL_GPIO_Init(GPIOC, &GPIO_InitStruct);

  /*Configure GPIO pin : PMOD_SPI2_SCK_Pin */
  GPIO_InitStruct.Pin = PMOD_SPI2_SCK_Pin;
  GPIO_InitStruct.Mode = GPIO_MODE_AF_PP;
  GPIO_InitStruct.Pull = GPIO_NOPULL;
  GPIO_InitStruct.Speed = GPIO_SPEED_FREQ_VERY_HIGH;
  GPIO_InitStruct.Alternate = GPIO_AF5_SPI2;
  HAL_GPIO_Init(PMOD_SPI2_SCK_GPIO_Port, &GPIO_InitStruct);

  /*Configure GPIO pins : PMOD_UART2_CTS_Pin PMOD_UART2_RTS_Pin PMOD_UART2_TX_Pin PMOD_UART2_RX_Pin */
  GPIO_InitStruct.Pin = PMOD_UART2_CTS_Pin|PMOD_UART2_RTS_Pin|PMOD_UART2_TX_Pin|PMOD_UART2_RX_Pin;
  GPIO_InitStruct.Mode = GPIO_MODE_AF_PP;
  GPIO_InitStruct.Pull = GPIO_NOPULL;
  GPIO_InitStruct.Speed = GPIO_SPEED_FREQ_VERY_HIGH;
  GPIO_InitStruct.Alternate = GPIO_AF7_USART2;
  HAL_GPIO_Init(GPIOD, &GPIO_InitStruct);

  /*Configure GPIO pins : ARD_D15_Pin ARD_D14_Pin */
  GPIO_InitStruct.Pin = ARD_D15_Pin|ARD_D14_Pin;
  GPIO_InitStruct.Mode = GPIO_MODE_AF_OD;
  GPIO_InitStruct.Pull = GPIO_PULLUP;
  GPIO_InitStruct.Speed = GPIO_SPEED_FREQ_VERY_HIGH;
  GPIO_InitStruct.Alternate = GPIO_AF4_I2C1;
  HAL_GPIO_Init(GPIOB, &GPIO_InitStruct);

  /* EXTI interrupt init*/
  HAL_NVIC_SetPriority(EXTI9_5_IRQn, 0, 0);
  HAL_NVIC_EnableIRQ(EXTI9_5_IRQn);

  HAL_NVIC_SetPriority(EXTI15_10_IRQn, 0, 0);
  HAL_NVIC_EnableIRQ(EXTI15_10_IRQn);

}

/* USER CODE BEGIN 4 */
PUTCHAR_PROTOTYPE
{
 /* Place your implementation of fputc here */
 /* e.g. write a character to the USART2 and Loop until the end of transmission */
 HAL_UART_Transmit(&huart1, (uint8_t *)&ch, 1, 0xFFFF);

return ch;
}
/* USER CODE END 4 */

void Error_Handler(void)
{
}

/************************ (C) COPYRIGHT STMicroelectronics *****END OF FILE****/
